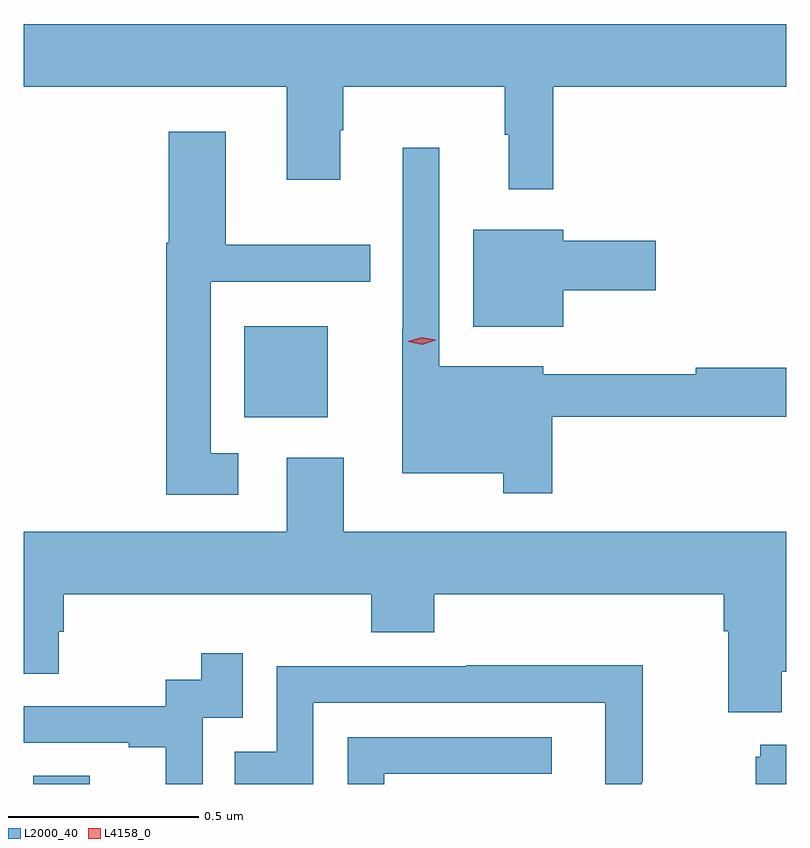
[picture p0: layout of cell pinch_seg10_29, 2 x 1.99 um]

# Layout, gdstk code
import gdstk
lib = gdstk.Library(unit=1e-6, precision=1e-09)
def R(c, l, rs):  # rectangles x0, y0, x1, y1
    for r in rs: c.add(gdstk.rectangle(r[:2], r[2:], *l))
def P(c, l, *ps):  # polygons
    for p in ps: c.add(gdstk.Polygon(p, *l))
L2000_40 = (2000, 40)
L4158_0 = (4158, 0)

pinch_seg10_29 = lib.new_cell('pinch_seg10_29')
R(pinch_seg10_29, L2000_40, [(934.44,1273.179,934.588,1273.201), (934.994,1274.141,935.212,1274.38)])
P(pinch_seg10_29, L2000_40, [(935.804,1275.008),(936.415,1275.008),(936.415,1275.172),(934.415,1275.172),(934.415,1275.008),(935.105,1275.008),(935.105,1274.763),(935.245,1274.763),(935.245,1274.894),(935.253,1274.894),(935.253,1275.008),(935.676,1275.008),(935.676,1274.882),(935.687,1274.882),(935.687,1274.739),(935.804,1274.739)],
  [(934.978,1274.047),(934.905,1274.047),(934.905,1274.496),(935.324,1274.496),(935.324,1274.593),(934.945,1274.593),(934.945,1274.89),(934.796,1274.89),(934.796,1274.599),(934.789,1274.599),(934.789,1273.938),(934.978,1273.938)],
  [(935.801,1274.142),(936.415,1274.142),(936.415,1274.27),(936.178,1274.27),(936.178,1274.253),(935.778,1274.253),(935.778,1274.275),(935.505,1274.275),(935.505,1274.848),(935.409,1274.848),(935.409,1274.371),(935.408,1274.371),(935.408,1273.994),(935.673,1273.994),(935.673,1273.941),(935.801,1273.941)],
  [(935.83,1274.474),(936.073,1274.474),(936.073,1274.604),(935.83,1274.604),(935.83,1274.632),(935.594,1274.632),(935.594,1274.378),(935.83,1274.378)],
  [(936.403,1273.474),(936.415,1273.474),(936.415,1273.84),(935.254,1273.84),(935.254,1274.035),(935.105,1274.035),(935.105,1273.84),(934.415,1273.84),(934.415,1273.468),(934.507,1273.468),(934.507,1273.578),(934.52,1273.578),(934.52,1273.676),(935.327,1273.676),(935.327,1273.577),(935.492,1273.577),(935.492,1273.676),(936.251,1273.676),(936.251,1273.58),(936.263,1273.58),(936.263,1273.367),(936.403,1273.367)],
  [(934.884,1273.353),(934.989,1273.353),(934.989,1273.522),(934.881,1273.522),(934.881,1273.452),(934.788,1273.452),(934.788,1273.383),(934.415,1273.383),(934.415,1273.287),(934.691,1273.287),(934.691,1273.275),(934.787,1273.275),(934.787,1273.179),(934.884,1273.179)],
  [(935.175,1273.392),(935.94,1273.392),(935.94,1273.179),(936.036,1273.179),(936.036,1273.183),(936.039,1273.183),(936.039,1273.49),(935.575,1273.49),(935.575,1273.488),(935.079,1273.488),(935.079,1273.263),(934.969,1273.263),(934.969,1273.179),(935.175,1273.179)],
  [(935.361,1273.206),(935.8,1273.206),(935.8,1273.302),(935.265,1273.302),(935.265,1273.179),(935.361,1273.179)],
  [(936.415,1273.282),(936.347,1273.282),(936.347,1273.251),(936.335,1273.251),(936.335,1273.179),(936.415,1273.179)])
P(pinch_seg10_29, L4158_0, [(935.46,1274.331),(935.424,1274.339),(935.424,1274.339),(935.424,1274.34),(935.459,1274.351),(935.495,1274.344),(935.495,1274.343),(935.495,1274.343)])

lib.write_gds('pinch_seg10_29.gds')
